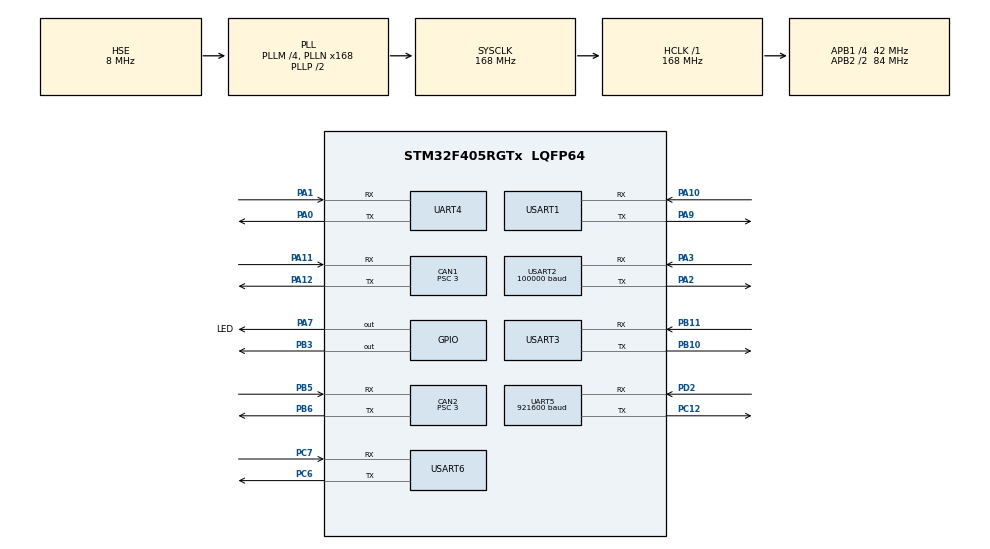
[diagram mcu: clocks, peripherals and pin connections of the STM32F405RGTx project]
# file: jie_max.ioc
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CAN1.ABOM=ENABLE
CAN1.BS1=CAN_BS1_6TQ
CAN1.BS2=CAN_BS2_7TQ
CAN1.CalculateBaudRate=1000000
CAN1.CalculateTimeBit=1000
CAN1.CalculateTimeQuantum=71.42857142857143
CAN1.NART=ENABLE
CAN1.Prescaler=3
CAN2.ABOM=ENABLE
CAN2.BS1=CAN_BS1_6TQ
CAN2.BS2=CAN_BS2_7TQ
CAN2.CalculateBaudRate=1000000
CAN2.CalculateTimeBit=1000
CAN2.CalculateTimeQuantum=71.42857142857143
CAN2.NART=ENABLE
CAN2.Prescaler=3
Dma.Request0=UART4_RX
Dma.Request1=UART4_TX
Dma.Request10=USART6_TX
Dma.Request2=USART3_RX
Dma.Request3=USART3_TX
Dma.Request4=USART2_RX
Dma.Request5=UART5_RX
Dma.Request6=UART5_TX
Dma.Request7=USART1_RX
Dma.Request8=USART1_TX
Dma.Request9=USART6_RX
Dma.UART4_RX.0.Direction=DMA_PERIPH_TO_MEMORY
Dma.UART4_RX.0.FIFOMode=DMA_FIFOMODE_DISABLE
Dma.UART4_RX.0.Instance=DMA1_Stream2
Dma.UART4_RX.0.MemDataAlignment=DMA_MDATAALIGN_BYTE
Dma.UART4_RX.0.MemInc=DMA_MINC_ENABLE
Dma.UART4_RX.0.Mode=DMA_CIRCULAR
Dma.UART4_RX.0.PeriphDataAlignment=DMA_PDATAALIGN_BYTE
Dma.UART4_RX.0.PeriphInc=DMA_PINC_DISABLE
Dma.UART4_RX.0.Priority=DMA_PRIORITY_LOW
Dma.UART4_TX.1.Direction=DMA_MEMORY_TO_PERIPH
Dma.UART4_TX.1.FIFOMode=DMA_FIFOMODE_DISABLE
Dma.UART4_TX.1.Instance=DMA1_Stream4
Dma.UART4_TX.1.MemDataAlignment=DMA_MDATAALIGN_BYTE
Dma.UART4_TX.1.MemInc=DMA_MINC_ENABLE
Dma.UART4_TX.1.Mode=DMA_NORMAL
Dma.UART4_TX.1.PeriphDataAlignment=DMA_PDATAALIGN_BYTE
Dma.UART4_TX.1.PeriphInc=DMA_PINC_DISABLE
Dma.UART4_TX.1.Priority=DMA_PRIORITY_LOW
Dma.UART5_RX.5.Direction=DMA_PERIPH_TO_MEMORY
Dma.UART5_RX.5.FIFOMode=DMA_FIFOMODE_DISABLE
Dma.UART5_RX.5.Instance=DMA1_Stream0
Dma.UART5_RX.5.MemDataAlignment=DMA_MDATAALIGN_BYTE
Dma.UART5_RX.5.MemInc=DMA_MINC_ENABLE
Dma.UART5_RX.5.Mode=DMA_CIRCULAR
Dma.UART5_RX.5.PeriphDataAlignment=DMA_PDATAALIGN_BYTE
Dma.UART5_RX.5.PeriphInc=DMA_PINC_DISABLE
Dma.UART5_RX.5.Priority=DMA_PRIORITY_HIGH
Dma.UART5_TX.6.Direction=DMA_MEMORY_TO_PERIPH
Dma.UART5_TX.6.FIFOMode=DMA_FIFOMODE_DISABLE
Dma.UART5_TX.6.Instance=DMA1_Stream7
Dma.UART5_TX.6.MemDataAlignment=DMA_MDATAALIGN_BYTE
Dma.UART5_TX.6.MemInc=DMA_MINC_ENABLE
Dma.UART5_TX.6.Mode=DMA_NORMAL
Dma.UART5_TX.6.PeriphDataAlignment=DMA_PDATAALIGN_BYTE
Dma.UART5_TX.6.PeriphInc=DMA_PINC_DISABLE
Dma.UART5_TX.6.Priority=DMA_PRIORITY_HIGH
Dma.USART1_RX.7.Direction=DMA_PERIPH_TO_MEMORY
Dma.USART1_RX.7.FIFOMode=DMA_FIFOMODE_DISABLE
Dma.USART1_RX.7.Instance=DMA2_Stream2
Dma.USART1_RX.7.MemDataAlignment=DMA_MDATAALIGN_BYTE
Dma.USART1_RX.7.MemInc=DMA_MINC_ENABLE
Dma.USART1_RX.7.Mode=DMA_CIRCULAR
Dma.USART1_RX.7.PeriphDataAlignment=DMA_PDATAALIGN_BYTE
Dma.USART1_RX.7.PeriphInc=DMA_PINC_DISABLE
Dma.USART1_RX.7.Priority=DMA_PRIORITY_LOW
Dma.USART1_TX.8.Direction=DMA_MEMORY_TO_PERIPH
Dma.USART1_TX.8.FIFOMode=DMA_FIFOMODE_DISABLE
Dma.USART1_TX.8.Instance=DMA2_Stream7
Dma.USART1_TX.8.MemDataAlignment=DMA_MDATAALIGN_BYTE
Dma.USART1_TX.8.MemInc=DMA_MINC_ENABLE
Dma.USART1_TX.8.Mode=DMA_NORMAL
Dma.USART1_TX.8.PeriphDataAlignment=DMA_PDATAALIGN_BYTE
Dma.USART1_TX.8.PeriphInc=DMA_PINC_DISABLE
Dma.USART1_TX.8.Priority=DMA_PRIORITY_LOW
Dma.USART2_RX.4.Direction=DMA_PERIPH_TO_MEMORY
Dma.USART2_RX.4.FIFOMode=DMA_FIFOMODE_DISABLE
Dma.USART2_RX.4.Instance=DMA1_Stream5
Dma.USART2_RX.4.MemDataAlignment=DMA_MDATAALIGN_BYTE
Dma.USART2_RX.4.MemInc=DMA_MINC_ENABLE
Dma.USART2_RX.4.Mode=DMA_CIRCULAR
Dma.USART2_RX.4.PeriphDataAlignment=DMA_PDATAALIGN_BYTE
Dma.USART2_RX.4.PeriphInc=DMA_PINC_DISABLE
Dma.USART2_RX.4.Priority=DMA_PRIORITY_LOW
Dma.USART3_RX.2.Direction=DMA_PERIPH_TO_MEMORY
Dma.USART3_RX.2.FIFOMode=DMA_FIFOMODE_DISABLE
Dma.USART3_RX.2.Instance=DMA1_Stream1
Dma.USART3_RX.2.MemDataAlignment=DMA_MDATAALIGN_BYTE
Dma.USART3_RX.2.MemInc=DMA_MINC_ENABLE
Dma.USART3_RX.2.Mode=DMA_NORMAL
Dma.USART3_RX.2.PeriphDataAlignment=DMA_PDATAALIGN_BYTE
Dma.USART3_RX.2.PeriphInc=DMA_PINC_DISABLE
Dma.USART3_RX.2.Priority=DMA_PRIORITY_LOW
Dma.USART3_TX.3.Direction=DMA_MEMORY_TO_PERIPH
Dma.USART3_TX.3.FIFOMode=DMA_FIFOMODE_DISABLE
Dma.USART3_TX.3.Instance=DMA1_Stream3
Dma.USART3_TX.3.MemDataAlignment=DMA_MDATAALIGN_BYTE
Dma.USART3_TX.3.MemInc=DMA_MINC_ENABLE
Dma.USART3_TX.3.Mode=DMA_NORMAL
Dma.USART3_TX.3.PeriphDataAlignment=DMA_PDATAALIGN_BYTE
Dma.USART3_TX.3.PeriphInc=DMA_PINC_DISABLE
Dma.USART3_TX.3.Priority=DMA_PRIORITY_LOW
Dma.USART6_RX.9.Direction=DMA_PERIPH_TO_MEMORY
Dma.USART6_RX.9.FIFOMode=DMA_FIFOMODE_DISABLE
Dma.USART6_RX.9.Instance=DMA2_Stream1
Dma.USART6_RX.9.MemDataAlignment=DMA_MDATAALIGN_BYTE
Dma.USART6_RX.9.MemInc=DMA_MINC_ENABLE
Dma.USART6_RX.9.Mode=DMA_CIRCULAR
Dma.USART6_RX.9.PeriphDataAlignment=DMA_PDATAALIGN_BYTE
Dma.USART6_RX.9.PeriphInc=DMA_PINC_DISABLE
Dma.USART6_RX.9.Priority=DMA_PRIORITY_LOW
Dma.USART6_TX.10.Direction=DMA_MEMORY_TO_PERIPH
Dma.USART6_TX.10.FIFOMode=DMA_FIFOMODE_DISABLE
Dma.USART6_TX.10.Instance=DMA2_Stream6
Dma.USART6_TX.10.MemDataAlignment=DMA_MDATAALIGN_BYTE
Dma.USART6_TX.10.MemInc=DMA_MINC_ENABLE
Dma.USART6_TX.10.Mode=DMA_NORMAL
Dma.USART6_TX.10.PeriphDataAlignment=DMA_PDATAALIGN_BYTE
Dma.USART6_TX.10.PeriphInc=DMA_PINC_DISABLE
Dma.USART6_TX.10.Priority=DMA_PRIORITY_LOW
FREERTOS.Tasks01=defaultTask,24,128,StartDefaultTask,Default,NULL,Dynamic,NULL,NULL;dr16,40,128,dr16_task,As weak,NULL,Dynamic,NULL,NULL;vt13,40,128,vt13_task,As weak,NULL,Dynamic,NULL,NULL;vofa,8,256,vofa_task,As weak,NULL,Dynamic,NULL,NULL;imu_can,40,128,imu_can_task,As weak,NULL,Dynamic,NULL,NULL;lx824,8,256,lx824_task,As weak,NULL,Dynamic,NULL,NULL;i6X,40,128,i6X_task,As weak,NULL,Dynamic,NULL,NULL;imu_485,40,128,imu_485_task,As weak,NULL,Dynamic,NULL,NULL;gimbal,24,512,gimbal_task,As weak,NULL,Dynamic,NULL,NULL;chassis,8,256,chassis_task,As weak,NULL,Dynamic,NULL,NULL;joint,24,256,joint_task,As weak,NULL,Dynamic,NULL,NULL;game,8,128,game_task,As weak,NULL,Dynamic,NULL,NULL
FREERTOS.configCHECK_FOR_STACK_OVERFLOW=2
FREERTOS.configENABLE_FPU=1
FREERTOS.configGENERATE_RUN_TIME_STATS=1
FREERTOS.configRECORD_STACK_HIGH_ADDRESS=1
FREERTOS.configUSE_MALLOC_FAILED_HOOK=1
Mcu.Family=STM32F4
Mcu.Name=STM32F405RGTx
Mcu.Package=LQFP64
NVIC.CAN1_RX0_IRQn=true\:5\:0\:false\:false\:true\:true\:true\:true\:true
NVIC.CAN1_RX1_IRQn=true\:5\:0\:false\:false\:true\:true\:true\:true\:true
NVIC.CAN1_TX_IRQn=true\:5\:0\:false\:false\:true\:true\:true\:true\:true
NVIC.CAN2_RX0_IRQn=true\:5\:0\:false\:false\:true\:true\:true\:true\:true
NVIC.CAN2_RX1_IRQn=true\:5\:0\:false\:false\:true\:true\:true\:true\:true
NVIC.CAN2_TX_IRQn=true\:5\:0\:false\:false\:true\:true\:true\:true\:true
NVIC.DMA1_Stream0_IRQn=true\:5\:0\:false\:false\:true\:true\:false\:true\:true
NVIC.DMA1_Stream1_IRQn=true\:5\:0\:false\:false\:true\:true\:false\:true\:true
NVIC.DMA1_Stream2_IRQn=true\:5\:0\:false\:false\:true\:true\:false\:true\:true
NVIC.DMA1_Stream3_IRQn=true\:5\:0\:false\:false\:true\:true\:false\:true\:true
NVIC.DMA1_Stream4_IRQn=true\:5\:0\:false\:false\:true\:true\:false\:true\:true
NVIC.DMA1_Stream5_IRQn=true\:5\:0\:false\:false\:true\:true\:false\:true\:true
NVIC.DMA1_Stream7_IRQn=true\:5\:0\:false\:false\:true\:true\:false\:true\:true
NVIC.DMA2_Stream1_IRQn=true\:5\:0\:false\:false\:true\:true\:false\:true\:true
NVIC.DMA2_Stream2_IRQn=true\:5\:0\:false\:false\:true\:true\:false\:true\:true
NVIC.DMA2_Stream6_IRQn=true\:5\:0\:false\:false\:true\:true\:false\:true\:true
NVIC.DMA2_Stream7_IRQn=true\:5\:0\:false\:false\:true\:true\:false\:true\:true
NVIC.PriorityGroup=NVIC_PRIORITYGROUP_4
NVIC.TIM1_UP_TIM10_IRQn=true\:5\:0\:false\:false\:true\:true\:true\:true\:true
NVIC.TIM7_IRQn=true\:15\:0\:false\:false\:true\:false\:false\:true\:true
NVIC.TimeBase=TIM7_IRQn
NVIC.TimeBaseIP=TIM7
NVIC.UART4_IRQn=true\:5\:0\:false\:false\:true\:true\:false\:true\:true
NVIC.UART5_IRQn=true\:5\:0\:false\:false\:true\:true\:true\:true\:true
NVIC.USART1_IRQn=true\:5\:0\:false\:false\:true\:true\:true\:true\:true
NVIC.USART2_IRQn=true\:5\:0\:false\:false\:true\:true\:true\:true\:true
NVIC.USART3_IRQn=true\:5\:0\:false\:false\:true\:true\:true\:true\:true
NVIC.USART6_IRQn=true\:5\:0\:false\:false\:true\:true\:true\:true\:true
PA0-WKUP.Mode=Asynchronous
PA0-WKUP.Signal=UART4_TX
PA1.Mode=Asynchronous
PA1.Signal=UART4_RX
PA10.Mode=Asynchronous
PA10.Signal=USART1_RX
PA11.Mode=CAN_Activate
PA11.Signal=CAN1_RX
PA12.Mode=CAN_Activate
PA12.Signal=CAN1_TX
PA13.Mode=Serial_Wire
PA13.Signal=SYS_JTMS-SWDIO
PA14.Mode=Serial_Wire
PA14.Signal=SYS_JTCK-SWCLK
PA2.Mode=Asynchronous
PA2.Signal=USART2_TX
PA3.Mode=Asynchronous
PA3.Signal=USART2_RX
PA7.GPIO_Label=LED
PA7.GPIO_Speed=GPIO_SPEED_FREQ_MEDIUM
PA7.Signal=GPIO_Output
PA9.Mode=Asynchronous
PA9.Signal=USART1_TX
PB10.Mode=Asynchronous
PB10.Signal=USART3_TX
PB11.Mode=Asynchronous
PB11.Signal=USART3_RX
PB3.GPIO_Speed=GPIO_SPEED_FREQ_MEDIUM
PB3.Signal=GPIO_Output
PB5.Mode=CAN_Activate
PB5.Signal=CAN2_RX
PB6.Mode=CAN_Activate
PB6.Signal=CAN2_TX
PC12.Mode=Asynchronous
PC12.Signal=UART5_TX
PC6.Mode=Asynchronous
PC6.Signal=USART6_TX
PC7.Mode=Asynchronous
PC7.Signal=USART6_RX
PD2.Mode=Asynchronous
PD2.Signal=UART5_RX
PH0-OSC_IN.Mode=HSE-External-Oscillator
PH0-OSC_IN.Signal=RCC_OSC_IN
PH1-OSC_OUT.Mode=HSE-External-Oscillator
PH1-OSC_OUT.Signal=RCC_OSC_OUT
ProjectManager.HeapSize=0x200
ProjectManager.StackSize=0x400
ProjectManager.TargetToolchain=CMake
RCC.48MHZClocksFreq_Value=56000000
RCC.AHBFreq_Value=168000000
RCC.APB1CLKDivider=RCC_HCLK_DIV4
RCC.APB1Freq_Value=42000000
RCC.APB1TimFreq_Value=84000000
RCC.APB2CLKDivider=RCC_HCLK_DIV2
RCC.APB2Freq_Value=84000000
RCC.APB2TimFreq_Value=168000000
RCC.CortexFreq_Value=168000000
RCC.HCLKFreq_Value=168000000
RCC.HSE_VALUE=8000000
RCC.HSI_VALUE=16000000
RCC.LSE_VALUE=32768
RCC.PLLM=4
RCC.PLLN=168
RCC.PLLQ=6
RCC.PLLSourceVirtual=RCC_PLLSOURCE_HSE
RCC.SYSCLKFreq_VALUE=168000000
RCC.SYSCLKSource=RCC_SYSCLKSOURCE_PLLCLK
RCC.VCOOutputFreq_Value=336000000
STMicroelectronics.X-CUBE-ALGOBUILD.1.5.0.LibraryCcDSPOoLibraryJjDSPOoLibrary=true
TIM10.Period=1000
TIM10.Prescaler=168-1
UART4.VirtualMode=Asynchronous
UART5.BaudRate=921600
UART5.VirtualMode=Asynchronous
USART1.VirtualMode=VM_ASYNC
USART2.BaudRate=100000
USART2.Mode=MODE_RX
USART2.Parity=PARITY_EVEN
USART2.VirtualMode=VM_ASYNC
USART2.WordLength=WORDLENGTH_9B
USART3.VirtualMode=VM_ASYNC
USART6.VirtualMode=VM_ASYNC
VP_FREERTOS_VS_CMSIS_V2.Mode=CMSIS_V2
VP_STMicroelectronics.X-CUBE-ALGOBUILD_VS_DSPOoLibraryJjLibrary_1.5.0_1.5.0.Mode=DSPOoLibraryJjLibrary
VP_SYS_VS_tim7.Mode=TIM7
VP_TIM10_VS_ClockSourceINT.Mode=Enable_Timer
board=custom

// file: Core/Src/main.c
/* USER CODE BEGIN Header */
/**
 ******************************************************************************
 * @file           : main.c
 * @brief          : Main program body
 ******************************************************************************
 * @attention
 *
 * Copyright (c) 2026 STMicroelectronics.
 * All rights reserved.
 *
 * This software is licensed under terms that can be found in the LICENSE file
 * in the root directory of this software component.
 * If no LICENSE file comes with this software, it is provided AS-IS.
 *
 ******************************************************************************
 */
/* USER CODE END Header */
#include "main.h"
#include "can.h"
#include "cmsis_os.h"
#include "dma.h"
#include "gpio.h"
#include "tim.h"
#include "usart.h"

/* USER CODE BEGIN Includes */
#include "bsp_can.h"
#include "bsp_dwt.h"

/* USER CODE END Includes */

/* USER CODE BEGIN PV */
/* CAN2 实例（用于底盘电机通信） */
STM32CAN_t can2_instance;
/* CAN1 实例（用于云台电机通信） */
STM32CAN_t can1_instance;
err_t result[2] = {};
/* USER CODE END PV */

void SystemClock_Config(void);
void MX_FREERTOS_Init(void);

int main(void) {

  /* MCU Configuration--------------------------------------------------------*/

  /* Reset of all peripherals, Initializes the Flash interface and the Systick.
   */
  HAL_Init();

  /* Configure the system clock */
  SystemClock_Config();

  /* Initialize all configured peripherals */
  MX_GPIO_Init();
  MX_DMA_Init();
  MX_CAN1_Init();
  MX_CAN2_Init();
  MX_UART4_Init();
  MX_USART3_UART_Init();
  MX_USART2_UART_Init();
  MX_UART5_Init();
  MX_USART1_UART_Init();
  MX_USART6_UART_Init();
  MX_TIM10_Init();
  /* USER CODE BEGIN 2 */
  /* 初始化 CAN2 BSP 对象 */
  result[0] = STM32CAN_Init(&can2_instance, &hcan2);
  if (result[0] != OK) {
    Error_Handler();
  }
  result[1] = STM32CAN_Init(&can1_instance, &hcan1);
  if (result[1] != OK) {
    Error_Handler();
  }
  /* 配置 CAN1 过滤器（接收所有帧） */
  CAN_FilterTypeDef filter_1 = {
      .FilterMode = CAN_FILTERMODE_IDMASK,
      .FilterScale = CAN_FILTERSCALE_32BIT,
      .FilterIdHigh = 0x0000,
      .FilterIdLow = 0x0000,
      .FilterMaskIdHigh = 0x0000,
      .FilterMaskIdLow = 0x0000,
      .FilterFIFOAssignment = CAN_RX_FIFO1,
      .FilterActivation = ENABLE,
      .FilterBank = 0 // CAN1 使用 Filter Bank 0-13
  };
  /* 配置 CAN2 过滤器（接收所有帧） */
  CAN_FilterTypeDef filter_2 = {
      .FilterMode = CAN_FILTERMODE_IDMASK,
      .FilterScale = CAN_FILTERSCALE_32BIT,
      .FilterIdHigh = 0x0000,
      .FilterIdLow = 0x0000,
      .FilterMaskIdHigh = 0x0000,
      .FilterMaskIdLow = 0x0000,
      .FilterFIFOAssignment = CAN_RX_FIFO0,
      .FilterActivation = ENABLE,
      .FilterBank = 14 // CAN2 使用 Filter Bank 14-27
  };
  STM32CAN_ConfigFilter(&can1_instance, &filter_1);
  STM32CAN_ConfigFilter(&can2_instance, &filter_2);
  DWT_Init(168);
  /* USER CODE END 2 */

  /* Init scheduler */
  osKernelInitialize(); /* Call init function for freertos objects (in
                           cmsis_os2.c) */
  MX_FREERTOS_Init();

  /* Start scheduler */
  osKernelStart();

  /* We should never get here as control is now taken by the scheduler */

  /* Infinite loop */
  while (1) {

  }
}

void SystemClock_Config(void) {
  RCC_OscInitTypeDef RCC_OscInitStruct = {0};
  RCC_ClkInitTypeDef RCC_ClkInitStruct = {0};

  /** Configure the main internal regulator output voltage
   */
  __HAL_RCC_PWR_CLK_ENABLE();
  __HAL_PWR_VOLTAGESCALING_CONFIG(PWR_REGULATOR_VOLTAGE_SCALE1);

  /** Initializes the RCC Oscillators according to the specified parameters
   * in the RCC_OscInitTypeDef structure.
   */
  RCC_OscInitStruct.OscillatorType = RCC_OSCILLATORTYPE_HSE;
  RCC_OscInitStruct.HSEState = RCC_HSE_ON;
  RCC_OscInitStruct.PLL.PLLState = RCC_PLL_ON;
  RCC_OscInitStruct.PLL.PLLSource = RCC_PLLSOURCE_HSE;
  RCC_OscInitStruct.PLL.PLLM = 4;
  RCC_OscInitStruct.PLL.PLLN = 168;
  RCC_OscInitStruct.PLL.PLLP = RCC_PLLP_DIV2;
  RCC_OscInitStruct.PLL.PLLQ = 6;
  if (HAL_RCC_OscConfig(&RCC_OscInitStruct) != HAL_OK) {
    Error_Handler();
  }

  /** Initializes the CPU, AHB and APB buses clocks
   */
  RCC_ClkInitStruct.ClockType = RCC_CLOCKTYPE_HCLK | RCC_CLOCKTYPE_SYSCLK |
                                RCC_CLOCKTYPE_PCLK1 | RCC_CLOCKTYPE_PCLK2;
  RCC_ClkInitStruct.SYSCLKSource = RCC_SYSCLKSOURCE_PLLCLK;
  RCC_ClkInitStruct.AHBCLKDivider = RCC_SYSCLK_DIV1;
  RCC_ClkInitStruct.APB1CLKDivider = RCC_HCLK_DIV4;
  RCC_ClkInitStruct.APB2CLKDivider = RCC_HCLK_DIV2;

  if (HAL_RCC_ClockConfig(&RCC_ClkInitStruct, FLASH_LATENCY_5) != HAL_OK) {
    Error_Handler();
  }
}

void HAL_TIM_PeriodElapsedCallback(TIM_HandleTypeDef *htim) {
  if (htim->Instance == TIM7) {
    HAL_IncTick();
  }
}

void Error_Handler(void) {
  __disable_irq();
  while (1) {
  }
}
#ifdef USE_FULL_ASSERT
/**
 * @brief  Reports the name of the source file and the source line number
 *         where the assert_param error has occurred.
 * @param  file: pointer to the source file name
 * @param  line: assert_param error line source number
 * @retval None
 */
void assert_failed(uint8_t *file, uint32_t line) {
  /* USER CODE BEGIN 6 */
  /* User can add his own implementation to report the file name and line
     number, ex: printf("Wrong parameters value: file %s on line %d\r\n", file,
     line) */
  /* USER CODE END 6 */
}
#endif /* USE_FULL_ASSERT */

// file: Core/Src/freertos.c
/* USER CODE BEGIN Header */
/**
  ******************************************************************************
  * File Name          : freertos.c
  * Description        : Code for freertos applications
  ******************************************************************************
  * @attention
  *
  * Copyright (c) 2026 STMicroelectronics.
  * All rights reserved.
  *
  * This software is licensed under terms that can be found in the LICENSE file
  * in the root directory of this software component.
  * If no LICENSE file comes with this software, it is provided AS-IS.
  *
  ******************************************************************************
  */
/* USER CODE END Header */

#include "FreeRTOS.h"
#include "task.h"
#include "main.h"
#include "cmsis_os.h"

/* Definitions for defaultTask */
osThreadId_t defaultTaskHandle;
const osThreadAttr_t defaultTask_attributes = {
  .name = "defaultTask",
  .stack_size = 128 * 4,
  .priority = (osPriority_t) osPriorityNormal,
};
/* Definitions for dr16 */
osThreadId_t dr16Handle;
const osThreadAttr_t dr16_attributes = {
  .name = "dr16",
  .stack_size = 128 * 4,
  .priority = (osPriority_t) osPriorityHigh,
};
/* Definitions for vt13 */
osThreadId_t vt13Handle;
const osThreadAttr_t vt13_attributes = {
  .name = "vt13",
  .stack_size = 128 * 4,
  .priority = (osPriority_t) osPriorityHigh,
};
/* Definitions for vofa */
osThreadId_t vofaHandle;
const osThreadAttr_t vofa_attributes = {
  .name = "vofa",
  .stack_size = 256 * 4,
  .priority = (osPriority_t) osPriorityLow,
};
/* Definitions for imu_can */
osThreadId_t imu_canHandle;
const osThreadAttr_t imu_can_attributes = {
  .name = "imu_can",
  .stack_size = 128 * 4,
  .priority = (osPriority_t) osPriorityHigh,
};
/* Definitions for lx824 */
osThreadId_t lx824Handle;
const osThreadAttr_t lx824_attributes = {
  .name = "lx824",
  .stack_size = 256 * 4,
  .priority = (osPriority_t) osPriorityLow,
};
/* Definitions for i6X */
osThreadId_t i6XHandle;
const osThreadAttr_t i6X_attributes = {
  .name = "i6X",
  .stack_size = 128 * 4,
  .priority = (osPriority_t) osPriorityHigh,
};
/* Definitions for imu_485 */
osThreadId_t imu_485Handle;
const osThreadAttr_t imu_485_attributes = {
  .name = "imu_485",
  .stack_size = 128 * 4,
  .priority = (osPriority_t) osPriorityHigh,
};
/* Definitions for gimbal */
osThreadId_t gimbalHandle;
const osThreadAttr_t gimbal_attributes = {
  .name = "gimbal",
  .stack_size = 512 * 4,
  .priority = (osPriority_t) osPriorityNormal,
};
/* Definitions for chassis */
osThreadId_t chassisHandle;
const osThreadAttr_t chassis_attributes = {
  .name = "chassis",
  .stack_size = 256 * 4,
  .priority = (osPriority_t) osPriorityLow,
};
/* Definitions for joint */
osThreadId_t jointHandle;
const osThreadAttr_t joint_attributes = {
  .name = "joint",
  .stack_size = 256 * 4,
  .priority = (osPriority_t) osPriorityNormal,
};
/* Definitions for game */
osThreadId_t gameHandle;
const osThreadAttr_t game_attributes = {
  .name = "game",
  .stack_size = 128 * 4,
  .priority = (osPriority_t) osPriorityLow,
};

void StartDefaultTask(void *argument);
void dr16_task(void *argument);
void vt13_task(void *argument);
void vofa_task(void *argument);
void imu_can_task(void *argument);
void lx824_task(void *argument);
void i6X_task(void *argument);
void imu_485_task(void *argument);
void gimbal_task(void *argument);
void chassis_task(void *argument);
void joint_task(void *argument);
void game_task(void *argument);

void MX_FREERTOS_Init(void); /* (MISRA C 2004 rule 8.1) */

/* Hook prototypes */
void configureTimerForRunTimeStats(void);
unsigned long getRunTimeCounterValue(void);
void vApplicationStackOverflowHook(xTaskHandle xTask, signed char *pcTaskName);
void vApplicationMallocFailedHook(void);

/* USER CODE BEGIN 1 */
/* Functions needed when configGENERATE_RUN_TIME_STATS is on */
__weak void configureTimerForRunTimeStats(void)
{

}

__weak unsigned long getRunTimeCounterValue(void)
{
return 0;
}
/* USER CODE END 1 */

/* USER CODE BEGIN 4 */
// 栈溢出钩子函数
void vApplicationStackOverflowHook(xTaskHandle xTask, signed char *pcTaskName)
{
  (void)xTask;
  (void)pcTaskName;
  taskDISABLE_INTERRUPTS();
  for (;;) {
  }
}
/* USER CODE END 4 */

/* USER CODE BEGIN 5 */
// 内存分配失败钩子函数
void vApplicationMallocFailedHook(void)
{
  taskDISABLE_INTERRUPTS();
  for (;;)
  {
  }
}
/* USER CODE END 5 */

void MX_FREERTOS_Init(void) {

  /* Create the thread(s) */
  /* creation of defaultTask */
  defaultTaskHandle = osThreadNew(StartDefaultTask, NULL, &defaultTask_attributes);

  /* creation of dr16 */
  dr16Handle = osThreadNew(dr16_task, NULL, &dr16_attributes);

  /* creation of vt13 */
  vt13Handle = osThreadNew(vt13_task, NULL, &vt13_attributes);

  /* creation of vofa */
  vofaHandle = osThreadNew(vofa_task, NULL, &vofa_attributes);

  /* creation of imu_can */
  imu_canHandle = osThreadNew(imu_can_task, NULL, &imu_can_attributes);

  /* creation of lx824 */
  lx824Handle = osThreadNew(lx824_task, NULL, &lx824_attributes);

  /* creation of i6X */
  i6XHandle = osThreadNew(i6X_task, NULL, &i6X_attributes);

  /* creation of imu_485 */
  imu_485Handle = osThreadNew(imu_485_task, NULL, &imu_485_attributes);

  /* creation of gimbal */
  gimbalHandle = osThreadNew(gimbal_task, NULL, &gimbal_attributes);

  /* creation of chassis */
  chassisHandle = osThreadNew(chassis_task, NULL, &chassis_attributes);

  /* creation of joint */
  jointHandle = osThreadNew(joint_task, NULL, &joint_attributes);

  /* creation of game */
  gameHandle = osThreadNew(game_task, NULL, &game_attributes);

}

void StartDefaultTask(void *argument)
{
  for(;;)
  {
    osDelay(1);
  }
}

__weak void dr16_task(void *argument)
{
  for(;;)
  {
    osDelay(1);
  }
}

__weak void vt13_task(void *argument)
{
  for(;;)
  {
    osDelay(1);
  }
}

__weak void vofa_task(void *argument)
{
  for(;;)
  {
    osDelay(1);
  }
}

__weak void imu_can_task(void *argument)
{
  for(;;)
  {
    osDelay(1);
  }
}

__weak void lx824_task(void *argument)
{
  for(;;)
  {
    osDelay(1);
  }
}

__weak void i6X_task(void *argument)
{
  for(;;)
  {
    osDelay(1);
  }
}

__weak void imu_485_task(void *argument)
{
  for(;;)
  {
    osDelay(1);
  }
}

__weak void gimbal_task(void *argument)
{
  for(;;)
  {
    osDelay(1);
  }
}

__weak void chassis_task(void *argument)
{
  for(;;)
  {
    osDelay(1);
  }
}

__weak void joint_task(void *argument)
{
  for(;;)
  {
    osDelay(1);
  }
}

__weak void game_task(void *argument)
{
  for(;;)
  {
    osDelay(1);
  }
}
